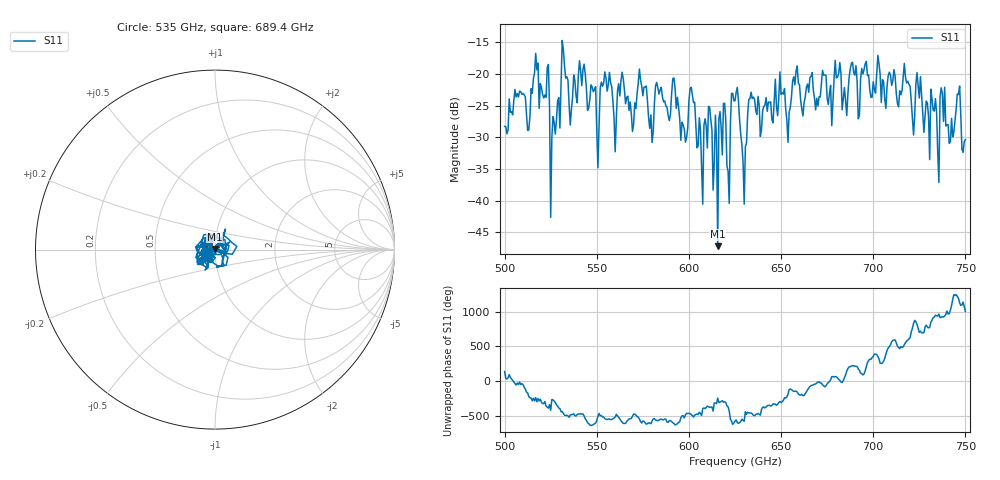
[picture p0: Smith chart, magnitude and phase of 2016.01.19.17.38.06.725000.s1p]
!Created with skrf (http://scikit-rf.org).
# GHz S RI R 50.0
!freq ReS11 ImS11
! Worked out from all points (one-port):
!   401 points, 500 GHz to 750 GHz, reference 50 ohm
!   lowest |S11| = -47.2 dB at 615.6 GHz (marker M1), VSWR 1.01, Z = 49.8 + j0.402 ohm
!   |S11| at or under -10 dB: start of sweep to end of sweep
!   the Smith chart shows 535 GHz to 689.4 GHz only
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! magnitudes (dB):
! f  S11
! 500 GHz  -28.3
! 513.1 GHz  -28.8
! 516.9 GHz  -16.7
! 523.1 GHz  -19.0
! 526.2 GHz  -26.7
! 531.2 GHz  -14.7
! 535.6 GHz  -28.1
! 541.9 GHz  -21.8
! 550 GHz  -28.9
! 553.8 GHz  -21.4
! 562.5 GHz  -23.5
! 568.8 GHz  -26.3
! 574.4 GHz  -21.9
! 579.4 GHz  -26.5
! 583.1 GHz  -22.2
! 593.8 GHz  -23.7
! 615.6 GHz  -47.2
! 618.1 GHz  -32.8
! 621.2 GHz  -35.4
! 625 GHz  -24.2
! 630 GHz  -40.5
! 633.8 GHz  -22.9
! 656.2 GHz  -21.1
! 687.5 GHz  -19.3
! 718.8 GHz  -21.2
! 734.4 GHz  -26.1
! 746.2 GHz  -23.2
! 750 GHz  -30.4
